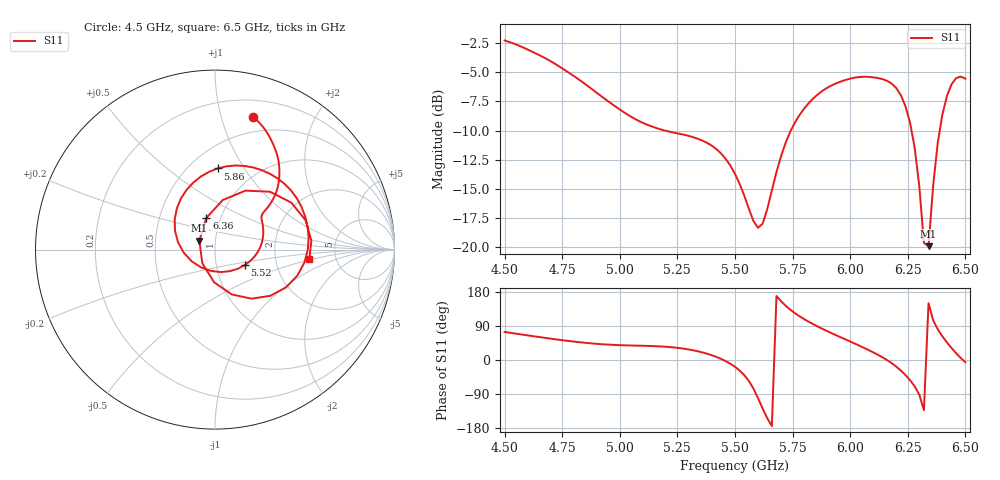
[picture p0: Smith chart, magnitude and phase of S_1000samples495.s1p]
! TOUCHSTONE file generated by CST MICROWAVE STUDIO
! Date and time: Fri Oct 28 08:55:22 2022
! Project name: L.cst
! Parameters = {Di=1.27; Epsilon_r=1.56; InnerDiameter=1.27; Length=2; Lf=10; Lg=60; OuterConductorThickness=0.2921; OuterDiameter=3.6; Wf=3; Wp=41.2; de=1.5; df=6.8; g=0.8; gx=1.24452; gy=3.09352; h=2.34; hf=1.524; px=12.4308; py=12.9956; w=9.7; wx=11.1863; wy=9.90212}
! Header version: 2018
! Port assignment regex: !\s*Touchstone port\s*([0-9]+)\s*=\s*(CST MWS port|CST DS port)\s*([0-9]+|Zmin|Zmax)\s*\(\"(.*)\"\)(\s*mode\s*([0-9]+))?.*
! Touchstone port assignment:
! Touchstone port 1 = CST MWS port 1 ("")
# GHz S DB R 50
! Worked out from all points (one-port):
!   101 points, 4.5 GHz to 6.5 GHz, reference 50 ohm
!   lowest |S11| = -19.9 dB at 6.34 GHz (marker M1), VSWR 1.22, Z = 41.8 + j4.27 ohm
!   |S11| at or under -10 dB: 5.196 GHz to 5.742 GHz (546.6 MHz wide, 9.99 % of centre); 6.266 GHz to 6.389 GHz (122.6 MHz wide, 1.94 % of centre)
!   S11 on the Smith chart (normalised r, x): 4.5 GHz: 0.35, +1.27; 5.52 GHz: 1.37, -0.25; 5.86 GHz: 0.68, +0.77; 6.36 GHz: 0.86, +0.31; 6.5 GHz: 3.16, -0.46
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4.5  -2.27 74.0
4.62  -3.24 63.2
4.76  -4.79 51.5
5  -8.19 39.2
5.26  -10.28 31.4
5.4  -11.31 12.4
5.5  -13.72 -18.0
5.52  -14.57 -27.7
5.58  -17.76 -75.3
5.62  -17.99 -128.2
5.7  -12.19 155.0
5.76  -9.31 123.6
5.86  -6.89 88.1
5.92  -6.12 70.5
6  -5.54 48.7
6.08  -5.39 26.1
6.16  -5.73 -0.1
6.2  -6.36 -17.6
6.26  -9.35 -53.4
6.3  -14.79 -91.5
6.32  -19.64 -132.5
6.34  -19.92 149.9
6.36  -14.74 105.1
6.38  -11.06 81.0
6.4  -8.63 62.6
6.42  -7.03 46.4
6.46  -5.50 17.7
6.5  -5.55 -5.7
